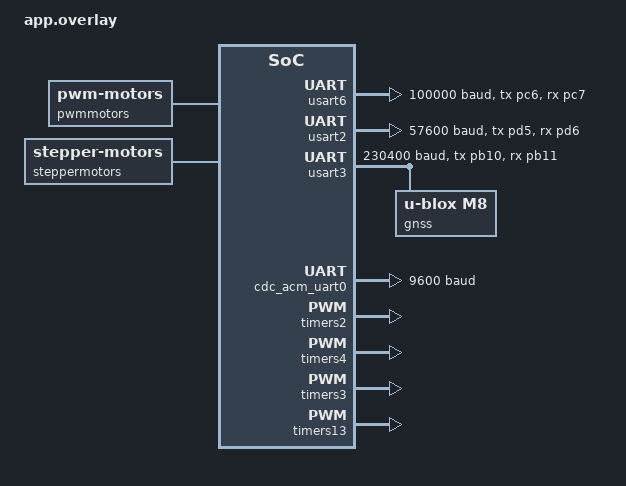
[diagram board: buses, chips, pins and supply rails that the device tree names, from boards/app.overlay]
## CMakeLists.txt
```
cmake_minimum_required(VERSION 3.20)
set(DTC_OVERLAY_FILE "boards/app.overlay")
set(CMAKE_EXPORT_COMPILE_COMMANDS ON)
find_package(Zephyr REQUIRED HINTS $ENV{ZEPHYR_BASE})
project(Tarzan LANGUAGES C)

target_include_directories(app PUBLIC ${CMAKE_CURRENT_SOURCE_DIR}/lib)
target_sources(app PRIVATE src/main.c src/dht11.c)

set(CMAKE_CXX_FLAGS "${CMAKE_CXX_FLAGS} -Wpedantic -Wall -Wextra")
execute_process(
    COMMAND git describe --always --broken --dirty --tags
    OUTPUT_VARIABLE TARZAN_GIT_VERSION
    OUTPUT_STRIP_TRAILING_WHITESPACE
)
add_definitions(-DTARZAN_GIT_VERSION=\"${TARZAN_GIT_VERSION}\")
```

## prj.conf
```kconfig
# peripherals 
CONFIG_GPIO=y
CONFIG_PWM=y
CONFIG_I2C=y
CONFIG_STEPPER=y

# sensors
CONFIG_SENSOR=n
CONFIG_MPU6050=n           
CONFIG_MPU6050_TRIGGER_NONE=n
CONFIG_BMM150=n
CONFIG_BMM150_TRIGGER_GLOBAL_THREAD=n
CONFIG_BMM150_TRIGGER_NONE=n
CONFIG_LSM9DS1=n            
CONFIG_LSM9DS1_MAG=n

# gnss
CONFIG_GNSS=y
CONFIG_GNSS_SATELLITES=y
CONFIG_GNSS_DUMP_TO_LOG=y
CONFIG_GNSS_DUMP_TO_LOG_BUF_SIZE=1024
CONFIG_GNSS_LOG_LEVEL_DBG=y
CONFIG_MODEM_MODULES_LOG_LEVEL_DBG=y

# uart
CONFIG_SERIAL=y
CONFIG_UART_CONSOLE=y
CONFIG_UART_LINE_CTRL=y
CONFIG_LOG_BACKEND_UART=y
CONFIG_UART_INTERRUPT_DRIVEN=y

# cdc acm uart
CONFIG_USB_CDC_ACM=y
CONFIG_USB_DEVICE_STACK=y
CONFIG_USB_DEVICE_PRODUCT="Team RUDRA Tarzan"
CONFIG_USB_DEVICE_VID=0x2FE3
CONFIG_USB_DEVICE_PID=0xFFFF
CONFIG_USB_DEVICE_INITIALIZE_AT_BOOT=n

# zephyr shell uart
CONFIG_SHELL=y
CONFIG_I2C_SHELL=n
CONFIG_SENSOR_SHELL=n
CONFIG_I2C_DUMP_MESSAGES=n
CONFIG_SENSOR_INFO=n

# printk and logging
CONFIG_CBPRINTF_FP_SUPPORT=y
CONFIG_LOG=y
CONFIG_CONSOLE=y
CONFIG_PRINTK=n
CONFIG_TARZAN_LOG_LEVEL=3

# libraries
CONFIG_Tarzan=y
CONFIG_CRC=y

# sys
CONFIG_REBOOT=y
```

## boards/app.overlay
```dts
/{
	pwmmotors {
		compatible = "pwm-motors";
		sabertooth1_1: pwm_1 {
			pwms  = <&pwm2 1 PWM_MSEC(20) (PWM_POLARITY_NORMAL)>;
			min-pulse = <PWM_USEC(1100)>;
			max-pulse = <PWM_USEC(1900)>;
			channel = <0>;
		};
		sabertooth1_2: pwm_2 {
			pwms  = <&pwm2 2 PWM_MSEC(20) (PWM_POLARITY_NORMAL)>;
			min-pulse = <PWM_USEC(1100)>;
			max-pulse = <PWM_USEC(1900)>;
			channel = <1>; 
		};
		cytron1_1: pwm_3 {
			pwms  = <&pwm2 3 PWM_MSEC(20) (PWM_POLARITY_NORMAL)>;
			min-pulse = <PWM_USEC(1100)>;
			max-pulse = <PWM_USEC(1900)>;
			channel = <11>; 
		};
		cytron1_2: pwm_4 {
			pwms  = <&pwm2 4 PWM_MSEC(20) (PWM_POLARITY_NORMAL)>;
			min-pulse = <PWM_USEC(1100)>;
			max-pulse = <PWM_USEC(1900)>;
			channel = <12>; 
		};
		cytron2_1: pwm_5 {
			pwms  = <&pwm4 1 PWM_MSEC(20) (PWM_POLARITY_NORMAL)>;
			min-pulse = <PWM_USEC(1100)>;
			max-pulse = <PWM_USEC(1900)>;
			channel = <6>; 
		};
		cytron2_2: pwm_6 {
			pwms  = <&pwm4 2 PWM_MSEC(20) (PWM_POLARITY_NORMAL)>;
			min-pulse = <PWM_USEC(1100)>;
			max-pulse = <PWM_USEC(1900)>;
			channel = <10>; 
		};
		servo_1: pwm_7 {
			pwms  = <&pwm4 3 PWM_MSEC(20) (PWM_POLARITY_NORMAL)>;
			min-pulse = <PWM_USEC(500)>;
			max-pulse = <PWM_USEC(2500)>;
			channel = <8>; 
		};
		servo_2: pwm_8 {
			pwms  = <&pwm3 1 PWM_MSEC(20) (PWM_POLARITY_NORMAL)>;
			min-pulse = <PWM_USEC(500)>;
			max-pulse = <PWM_USEC(2500)>;
			channel = <9>; 
		};
		servo_3: pwm_9 {
			pwms  = <&pwm3 2 PWM_MSEC(20) (PWM_POLARITY_NORMAL)>;
			min-pulse = <PWM_USEC(500)>;
			max-pulse = <PWM_USEC(2500)>;
		};
		servo_4: pwm_10 {
			pwms  = <&pwm13 1 PWM_MSEC(20) (PWM_POLARITY_NORMAL)>;
			min-pulse = <PWM_USEC(500)>;
			max-pulse = <PWM_USEC(2500)>;
		};
	};

	steppermotors { 
		compatible = "stepper-motors"; 
		dm5422_tt: dm5422_tt { 
			label = "Turn Table"; 
			dir-gpios = <&gpioe 13 GPIO_ACTIVE_LOW>; 
			step-gpios = <&gpiof 11 GPIO_ACTIVE_LOW>;
			channel = <7>; 
		};
		yako: yako {
			label = "First Link"; 
			dir-gpios = <&gpiob 7 GPIO_ACTIVE_LOW>;   
			step-gpios = <&gpioc 0 GPIO_ACTIVE_LOW>;
			channel = <3>; 
		};
		rhino: rhino { 
			label = "Second Link";
			dir-gpios = <&gpiog 14 GPIO_ACTIVE_HIGH>; 
			step-gpios = <&gpiob 1 GPIO_ACTIVE_LOW>; 
			channel = <2>; 
		};
		dm5422_pr1: dm5422_pr1 { 
			label = "Pitch Roll 1";
			dir-gpios = <&gpioa 8 GPIO_ACTIVE_LOW>;
			step-gpios = <&gpiog 12 GPIO_ACTIVE_LOW>;
			channel = <4>; 
		};
		dm5422_pr2: dm5422_pr2 { 
			label = "Pitch Roll 2";
			dir-gpios = <&gpiog 9 GPIO_ACTIVE_LOW>;
			step-gpios = <&gpiod 15 GPIO_ACTIVE_LOW>;
			channel = <5>; 
		};
	};

	aliases {
			sbc-uart = &cdc_acm_uart0; 
			telemetry-uart = &usart2;
			sbus-uart = &usart6;
     			gps-uart = &gnss;
	};

	chosen {
		zephyr,console = &usart2;
		zephyr,shell-uart = &usart2;
	};
};

&usart6 {
	pinctrl-0 = <&usart6_tx_pc6 &usart6_rx_pc7>;
	pinctrl-names= "default";
	status = "okay";
	current-speed = <100000>;
};

&usart2 {
        pinctrl-0 = <&usart2_tx_pd5 &usart2_rx_pd6>;
        pinctrl-names= "default";
        status = "okay";
        current-speed = <57600>;
};

&usart3{
	pinctrl-0 = <&usart3_tx_pb10 &usart3_rx_pb11>;
	pinctrl-names = "default";
	status = "okay";
	current-speed = <230400>;
	gnss: u_blox_m8n {
		status = "okay";
		compatible = "u-blox,m8";
		initial-baudrate = <230400>;
	};
};

&zephyr_udc0 {
	cdc_acm_uart0: cdc_acm_uart0 {
		compatible = "zephyr,cdc-acm-uart";
		status = "okay";
		current-speed = <9600>;
	};
};

&timers2 {
	status = "okay";
	st,prescaler = <5599>;
	pwm2: pwm {
		status = "okay";
		pinctrl-0 = <&tim2_ch1_pa0 &tim2_ch2_pa1 &tim2_ch3_pa2 &tim2_ch4_pa3>;
		pinctrl-names = "default";
	};
};

&timers4 {
	status = "okay";
	st,prescaler = <5599>;
	pwm4: pwm {
		status = "okay";
		pinctrl-0 = <&tim4_ch1_pd12 &tim4_ch2_pd13 &tim4_ch3_pd14>;
		pinctrl-names = "default";
	};
};

&timers3 {
	status = "okay";
	st,prescaler = <5599>;

	pwm3: pwm {
		status = "okay";
		pinctrl-0 = <&tim3_ch1_pb4 &tim3_ch2_pb5>;
		pinctrl-names = "default";
	};
};

&timers13 {
	status = "okay";
	st,prescaler = <5599>;

	pwm13: pwm {
		status = "okay";
		pinctrl-0 = <&tim13_ch1_pa6>;
		pinctrl-names = "default";
	};
};
```

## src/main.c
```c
#include <stdbool.h>
#include <stdint.h>
#include <stdlib.h>
#include <string.h>
#include <zephyr/device.h>
#include <zephyr/devicetree.h>
#include <zephyr/drivers/gnss.h>
#include <zephyr/drivers/gpio.h>
#include <zephyr/drivers/sensor.h>
#include <zephyr/drivers/stepper.h>
#include <zephyr/drivers/uart.h>
#include <zephyr/kernel.h>
#include <zephyr/kernel/thread_stack.h>
#include <zephyr/logging/log.h>
#include <zephyr/sys/crc.h>
#include <zephyr/sys/util.h>
#include <zephyr/toolchain.h>
#include <zephyr/usb/usb_device.h>

#include <Tarzan/lib/arm.h>
#include <Tarzan/lib/cobs.h>
#include <Tarzan/lib/drive.h>
#include <Tarzan/lib/sbus.h>

LOG_MODULE_REGISTER(Tarzan, CONFIG_TARZAN_LOG_LEVEL);

#define STACK_SIZE 4096   // work_q thread stack size
#define PRIORITY 2        // work_q thread priority
#define STEPPER_TIMER 100 // stepper pulse width in microseconds
#define JERK_LIMITER false

/* sbus uart */
static const struct device *const sbus_uart =
    DEVICE_DT_GET(DT_ALIAS(sbus_uart));
/* sbc uart */
static const struct device *const sbc_uart = DEVICE_DT_GET(DT_ALIAS(sbc_uart));
/* gps uart */
#define GNSS_MODEM DEVICE_DT_GET(DT_ALIAS(gps_uart))

/* DT spec for pwm motors */
#define PWM_MOTOR_SETUP(pwm_dev_id)                                            \
  {.dev_spec = PWM_DT_SPEC_GET(pwm_dev_id),                                    \
   .min_pulse = DT_PROP(pwm_dev_id, min_pulse),                                \
   .max_pulse = DT_PROP(pwm_dev_id, max_pulse),                                \
   .channel = DT_PROP_OR(pwm_dev_id, channel, -1)},
const struct pwm_motor pwm_motor[DT_CHILD_NUM_STATUS_OKAY(DT_PATH(pwmmotors))] =
    {DT_FOREACH_CHILD(DT_PATH(pwmmotors), PWM_MOTOR_SETUP)};

/* DT spec for stepper motors */
#define STEPPER_MOTOR_SETUP(stepper_dev_id)                                    \
  {.dir = GPIO_DT_SPEC_GET(stepper_dev_id, dir_gpios),                         \
   .step = GPIO_DT_SPEC_GET(stepper_dev_id, step_gpios),                       \
   .channel = DT_PROP_OR(stepper_dev_id, channel, -1)},
const struct stepper_motor
    stepper_motor[DT_CHILD_NUM_STATUS_OKAY(DT_PATH(steppermotors))] = {
        DT_FOREACH_CHILD(DT_PATH(steppermotors), STEPPER_MOTOR_SETUP)};

/* DT spec for leds */
static const struct gpio_dt_spec init_led =
    GPIO_DT_SPEC_GET(DT_ALIAS(led0), gpios);
static const struct gpio_dt_spec sbus_status_led =
    GPIO_DT_SPEC_GET(DT_ALIAS(led1), gpios);
const struct pwm_dt_spec error_led = PWM_DT_SPEC_GET(DT_ALIAS(pwm_led0));
/* Enum struct to define the diffrent autonomous modes */ 
enum auto_state {
  arm_mode=0,
  drive_mode=1
};
/* msg struct for rx coms */
struct auto_msg {
  uint8_t state;
  struct DiffDriveTwist auto_cmd;
  struct joint arm_cmd[6]; 
  uint32_t crc;
};
/* struct to store gps data */ 
struct gps_data {
  int64_t latitude;
  int64_t longitude;
  int32_t altitude;
  int32_t bearing;

};
struct gps_send_data {
  struct k_work gps_work_item; 
}gps;
/* msg struct for tx coms */
struct base_station_msg {
  struct gps_data data;
  struct joint angles[6];
  uint32_t crc;
};

/* defining sbus message queue*/
K_MSGQ_DEFINE(sbus_msgq, 25 * sizeof(uint8_t), 10, 1);
/* defining cobs message queue */
K_MSGQ_DEFINE(drive_msgq, sizeof(struct auto_msg) + 2, 50, 1);
/* defining cobs message queue for inverse kinematics */ 
K_MSGQ_DEFINE(arm_msgq,sizeof(struct auto_msg)+2,50,1);
/* defining the message queue for tx item arm */ 
K_MSGQ_DEFINE(arm_tx_msgq,sizeof(struct joint),50,1);
/* defining the message queue for tx item gps */ 
K_MSGQ_DEFINE(gps_tx_msgq,sizeof(struct gps_data),50,1);
/* workq dedicated thread */
K_THREAD_STACK_DEFINE(stack_area, STACK_SIZE);

/* semaphore for channels */
struct k_sem ch_sem;
/* mutex for channel reader count */
struct k_mutex ch_reader_cnt_mutex;
/* mutex for channel readers to wait for writer */
struct k_mutex ch_writer_mutex;
/* msgq to store sbus data */
struct k_work_q work_q;
/* sbus work item */
struct k_work sbus_work_item;
/*gps work item */ 

/* struct for drive variables */
struct drive_arg {
  struct k_work drive_work_item;      // drive work item
  struct k_work auto_drive_work_item; // autonomous drive work item
  struct DiffDriveConfig drive_config;
  struct DiffDriveTwist cmd;
  struct DiffDriveCtx *drive_init;
  struct k_work auto_arm_work_item;
  uint8_t arm_work_buffer[sizeof(struct auto_msg)+2];
  uint8_t drive_raw_buffer[sizeof(struct auto_msg) + 2];
} drive;


/* struct for arm variables */

struct arm_arg {
  enum StepperDirection dir[5];
  int pos[5];
  struct k_work channel_work_item;
  struct k_work auto_arm_work_item;
  struct k_work arm_tx_work_item;
  uint8_t arm_work_buffer[sizeof(struct auto_msg)+2];
} arm;
/*struct for communication */ 
struct com_rx_arg {
  struct k_work cobs_rx_work_item;
  struct k_work *work_item;
  void *msg_rx;
  struct k_msgq *msgq_rx;
  int cobs_bytes_read;
  size_t MSG_LEN;
  uint8_t *rx_buf;
};

struct com_rx_arg drive_com; //auto drive struct 
struct com_rx_arg arm_com; //auto arm struct

struct com_tx_arg {
  struct k_work sbc_tx_work_item;
  struct base_station_msg bs_msg_tx; // to store encoded base station mssg
} com_tx;

int ch_reader_cnt;          // no. of readers accessing channels
uint16_t channel[16] = {0}; // to store sbus channels
uint8_t packet[25];         // to store sbus packets
int sbus_bytes_read;        // to store number of sbus bytes read
const int BS_MSG_LEN =
    sizeof(struct base_station_msg) + 2; // len of base station mssg
uint8_t bs_tx_buf[sizeof(struct base_station_msg) + 2] = {0};
/* range variables */
const float linear_velocity_range[] = {-1.5, 1.5};
const float angular_velocity_range[] = {-5.5, 5.5};
const float wheel_velocity_range[] = {-10.0, 10.0};
const uint16_t channel_range[] = {172, 1811};

/* check if received cobs message is valid,
* ret 0 if successfull */
uint32_t check_crc(uint8_t *msg, size_t MSG_LEN) {
  uint32_t valid_crc;
  valid_crc = crc32_ieee((uint8_t *)msg, MSG_LEN - sizeof(uint32_t));
  return valid_crc;
}

/* interrupt to store sbus data */
void sbus_cb(const struct device *dev, void *user_data) {
  ARG_UNUSED(user_data);
  uint8_t c;
  if (!uart_irq_update(sbus_uart))
    return;
  if (!uart_irq_rx_ready(sbus_uart))
    return;
  while (sbus_bytes_read < 25 && uart_fifo_read(sbus_uart, &c, 1)) {
    if (sbus_bytes_read == 0 && c != 0x0f)
      continue;
    packet[sbus_bytes_read++] = c;
  }
  if (sbus_bytes_read == 25) {
    k_msgq_put(&sbus_msgq, &packet, K_NO_WAIT);
    k_work_submit_to_queue(&work_q, &sbus_work_item);
    sbus_bytes_read = 0;
  }
}
/* interrupt to store gps data */
void gps_cb(const struct device *dev, const struct gnss_data *data) {
  struct gps_data dummy_gps; 
  if (data->info.fix_status != GNSS_FIX_STATUS_NO_FIX) {
    /*
    com_tx.bs_msg_tx.data.latitude = data->nav_data.latitude;
    com_tx.bs_msg_tx.data.longitude = data->nav_data.longitude;
    com_tx.bs_msg_tx.data.altitude = data->nav_data.altitude;
    com_tx.bs_msg_tx.data.bearing = data->nav_data.bearing;
    */ 
    k_msgq_put(&gps_tx_msgq,&dummy_gps,K_NO_WAIT);

    dummy_gps.latitude=data->nav_data.latitude;
    dummy_gps.longitude=data->nav_data.longitude;
    dummy_gps.altitude=data->nav_data.altitude;
    dummy_gps.bearing=data->nav_data.bearing;
    k_work_submit_to_queue(&work_q, &gps.gps_work_item);
  } else
    LOG_ERR("GPS: Unable to fix satellite");
}
/* interrupt to send the current joint angles of the arm */ 
/*
struct joint1 {
  float accel[3];
  float gyro[3];
  float mag[3];
  float pitch;
  float roll;
  float yaw;
};
*/ 
void angles_cb(const struct device *dev , struct joint angles){
  // if (!uart_irq_update(sbus_uart))
  //   return;
  // if (!uart_irq_rx_ready(sbus_uart))
  //   return;
  if(k_msgq_put(&arm_tx_msgq,&angles,K_NO_WAIT)!=0){
    return;
  }
  k_work_submit_to_queue(&work_q,&arm.arm_tx_work_item);
};
/* gps work handler */ 
void gps_work_handler(struct k_work *gps_work_item){
  struct gps_data buffer={0};
  if(k_msgq_get(&gps_tx_msgq,&buffer,K_NO_WAIT)!=0){
    return ;
  }
  com_tx.bs_msg_tx.data.latitude=buffer.latitude;
  com_tx.bs_msg_tx.data.longitude=buffer.longitude;
  com_tx.bs_msg_tx.data.altitude=buffer.altitude;
  com_tx.bs_msg_tx.data.bearing=buffer.bearing;
  k_work_submit_to_queue(&work_q,&(com_tx.sbc_tx_work_item));

};
/* work handler for the arms tx message */ 
void arm_tx_work_handler(struct k_work *arm_tx_work_item){
  struct joint latest_angles;

  for(int i=0;i<6;i++){
    if(k_msgq_get(&arm_tx_msgq,&latest_angles,K_NO_WAIT)!=0){
      return ;
    }
    com_tx.bs_msg_tx.angles[i]=latest_angles;
  };
  k_work_submit_to_queue(&work_q,&(com_tx.sbc_tx_work_item));

};
/* interrup to read cobs messages */
void cobs_cb(const struct device *dev, void *user_data) {
  struct com_rx_arg *com_ctx = (struct com_rx_arg *)user_data;
  uint8_t c;

  if (!uart_irq_update(dev)) {
    return;
  }
  if (!uart_irq_rx_ready(dev)) {
    return;
  }
  while (uart_fifo_read(dev, &c, 1)) {
    if (c == 0x00 && com_ctx->cobs_bytes_read > 0) {
      com_ctx->rx_buf[com_ctx->cobs_bytes_read] = 0;
      if (com_ctx->cobs_bytes_read != (com_ctx->MSG_LEN - 1)) {
        com_ctx->cobs_bytes_read = 0;
        continue;
      }
      k_msgq_put(com_ctx->msgq_rx, com_ctx->rx_buf, K_NO_WAIT);
      k_work_submit_to_queue(&work_q, &com_ctx->cobs_rx_work_item);
      com_ctx->cobs_bytes_read = 0;
    } else if (com_ctx->cobs_bytes_read < com_ctx->MSG_LEN) {
      com_ctx->rx_buf[com_ctx->cobs_bytes_read++] = c;
    }
  }
}

/* work handler to form sbus packet and return sbus channels */
void sbus_work_handler(struct k_work *sbus_work_ptr) {
  uint8_t buffer[25] = {0};
  int err;
  k_msgq_get(&sbus_msgq, buffer, K_NO_WAIT);
  err = parity_checker(buffer[23]);

  if (err == 1) {
    gpio_pin_set_dt(&sbus_status_led, 0); // set sbus status led low
    LOG_ERR("Corrupt SBUS Packet\n");
  } else {
    gpio_pin_set_dt(&sbus_status_led, 1); // set sbus status led high
    k_mutex_lock(&ch_writer_mutex, K_FOREVER);
    if (k_sem_take(&ch_sem, K_NO_WAIT) == 0) {
      k_mutex_unlock(&ch_writer_mutex);
      parse_buffer(buffer, channel);
      k_sem_give(&ch_sem);
      k_work_submit_to_queue(&work_q, &(arm.channel_work_item));
      k_work_submit_to_queue(&work_q, &(drive.drive_work_item));
    } else {
      k_mutex_unlock(&ch_writer_mutex);
    }
  }
}

/* received cobs message work handler */
// struct dummy_arm_mode {
//   uint8_t arm_dummy[sizeof(struct auto_msg)+2];
// }dummy_arm;
void cobs_rx_work_handler(struct k_work *cobs_rx_work_ptr) {
  struct com_rx_arg *com_info = CONTAINER_OF(
      cobs_rx_work_ptr, struct com_rx_arg,
      cobs_rx_work_item); // changed type here to check for conflicts

  uint8_t buf[com_info->MSG_LEN];
  k_msgq_get(com_info->msgq_rx, buf, K_MSEC(4));
  struct auto_msg autonomous_state; 
  cobs_decode_result result = cobs_decode(
      &(autonomous_state), sizeof(autonomous_state), buf, com_info->MSG_LEN - 1);
  if (result.status != COBS_DECODE_OK) {
    LOG_ERR("COBS Decode Failed %d\n", result.status);
    return;
  }
  uint8_t *data=(uint8_t *)&autonomous_state;
  if(autonomous_state.state==arm_mode){
     
    for(int i=0;i<sizeof(struct auto_msg);i++){
        drive.arm_work_buffer[i]=data[i];
    };
        
    com_info->work_item=arm_com.work_item;
  }else if(autonomous_state.state==drive_mode){ 
    
    for(int i=0;i<sizeof(struct auto_msg);i++){
      drive.drive_raw_buffer[i]=data[i];
    }; 



    com_info->work_item=drive_com.work_item;
  }
  // submit autonomous work handler
  k_work_submit_to_queue(&work_q, com_info->work_item);
}

void sbc_tx_work_handler(struct k_work *sbc_tx_work_ptr) {

  struct com_tx_arg *com_info =
      CONTAINER_OF(sbc_tx_work_ptr, struct com_tx_arg,
                   sbc_tx_work_item); // changed type from som_arg to
                                      // com_tx_arg to match type
  com_info->bs_msg_tx.crc =
      crc32_ieee((uint8_t *)(&com_info->bs_msg_tx),
                 sizeof(struct base_station_msg) - sizeof(uint32_t));
  cobs_encode_result result =
      cobs_encode(bs_tx_buf, BS_MSG_LEN, (void *)&com_info->bs_msg_tx,
                  sizeof(struct base_station_msg));

  if (result.status != COBS_ENCODE_OK) {
    LOG_ERR("COBS Encoded Failed %d\n", result.status);

    return;
  }
  bs_tx_buf[BS_MSG_LEN - 1] = 0x00;
  for (int i = 0; i < BS_MSG_LEN; i++) {
    uart_poll_out(sbc_uart, bs_tx_buf[i]);
  }

}

int velocity_callback(const float *velocity_buffer, int buffer_len,
                      int wheels_per_side) {
  if (buffer_len < wheels_per_side * 2) {
    return 1;
  }
  if (pwm_motor_write(
          &(pwm_motor[0]),
          LINEAR_INTERPOLATION(*velocity_buffer, wheel_velocity_range[0],
                               wheel_velocity_range[1], pwm_motor[0].min_pulse,
                               pwm_motor[0].max_pulse))) {
    LOG_ERR("Drive: Unable to write pwm pulse to Left");
    return 1;
  }
  if (pwm_motor_write(&(pwm_motor[1]),
                      LINEAR_INTERPOLATION(
                          *(velocity_buffer + wheels_per_side + 1),
                          wheel_velocity_range[0], wheel_velocity_range[1],
                          pwm_motor[1].min_pulse, pwm_motor[1].max_pulse))) {
    LOG_ERR("Drive: Unable to write pwm pulse to Right");
    return 1;
  }
  return 0;
}

/* work handler to write to motors */
void drive_work_handler(struct k_work *drive_work_ptr) {
  struct drive_arg *drive_info =
      CONTAINER_OF(drive_work_ptr, struct drive_arg, drive_work_item);

  if (k_mutex_lock(&ch_writer_mutex, K_NO_WAIT) != 0) {
    return;
  }
  k_mutex_unlock(&ch_writer_mutex);
  k_mutex_lock(&ch_reader_cnt_mutex, K_FOREVER);
  if (ch_reader_cnt == 0) {
    k_sem_take(&ch_sem, K_FOREVER);
  }
  ch_reader_cnt++;
  k_mutex_unlock(&ch_reader_cnt_mutex);

  // drive update
  drive_info->cmd.linear_x = LINEAR_INTERPOLATION(
      channel[pwm_motor[0].channel], channel_range[0], channel_range[1],
      linear_velocity_range[0], linear_velocity_range[1]);
  drive_info->cmd.angular_z = LINEAR_INTERPOLATION(
      channel[pwm_motor[1].channel], channel_range[0], channel_range[1],
      angular_velocity_range[0], angular_velocity_range[1]);
  diffdrive_update(drive_info->drive_init, drive_info->cmd);

  for (size_t i = 2U; i < ARRAY_SIZE(pwm_motor); i++) {
    if (pwm_motor_write(&(pwm_motor[i]),
                        LINEAR_INTERPOLATION(channel[pwm_motor[i].channel],
                                             channel_range[0], channel_range[1],
                                             pwm_motor->min_pulse,
                                             pwm_motor->max_pulse)))
      LOG_ERR("PWM: Motor %s unable to write", pwm_motor[i].dev_spec.dev->name);
  }
  k_mutex_lock(&ch_reader_cnt_mutex, K_FOREVER);
  ch_reader_cnt--;
  if (ch_reader_cnt == 0) {
    k_sem_give(&ch_sem);
  }
  k_mutex_unlock(&ch_reader_cnt_mutex);
  ;
}

/* autonomous drive work handler */
void auto_drive_work_handler(struct k_work *auto_drive_work_ptr) {
  struct drive_arg *drive_info =
      CONTAINER_OF(auto_drive_work_ptr, struct drive_arg, auto_drive_work_item);

  struct auto_msg *msg = (struct auto_msg *)drive_info->drive_raw_buffer;

  // check crc
  if (check_crc(drive_info->drive_raw_buffer, sizeof(struct auto_msg)) !=
      msg->crc)
    return;

  // update drive
  drive_info->cmd.linear_x = drive_info->auto_cmd.cmd.linear_x;
  drive_info->cmd.angular_z = drive_info->auto_cmd.cmd.angular_z;
  diffdrive_update(drive_info->drive_init, drive_info->cmd);


}

/* arm channel work handler */
void arm_channel_work_handler(struct k_work *work_ptr) {
  struct arm_arg *arm_info =
      CONTAINER_OF(work_ptr, struct arm_arg, channel_work_item);
  if (k_mutex_lock(&ch_writer_mutex, K_NO_WAIT) != 0) {
    return;
  }
  k_mutex_unlock(&ch_writer_mutex);
  k_mutex_lock(&ch_reader_cnt_mutex, K_FOREVER);
  if (ch_reader_cnt == 0) {
    k_sem_take(&ch_sem, K_FOREVER);
  }
  ch_reader_cnt++;
  k_mutex_unlock(&ch_reader_cnt_mutex);

  for (int i = 0U; i < ARRAY_SIZE(stepper_motor); i++) {
    if (channel[stepper_motor[i].channel] > 1185)
      arm_info->dir[i] = HIGH_PULSE;
    else if (channel[stepper_motor[i].channel] < 800)
      arm_info->dir[i] = LOW_PULSE;
    else
      arm_info->dir[i] = STOP_PULSE;
  }

  k_mutex_lock(&ch_reader_cnt_mutex, K_FOREVER);
  ch_reader_cnt--;
  if (ch_reader_cnt == 0) {
    k_sem_give(&ch_sem);
  }
  k_mutex_unlock(&ch_reader_cnt_mutex);
}
void auto_arm_work_handler(struct k_work *auto_arm_work_ptr) {
  struct drive_arg *arm_info= CONTAINER_OF(auto_arm_work_ptr,struct drive_arg,auto_arm_work_item);
  struct auto_msg *msg=(struct auto_msg *)arm_info->arm_work_buffer;
  if (check_crc(arm_info->arm_work_buffer, sizeof(struct auto_msg )) !=msg->crc)
      return;
  /* msg should be having x,y,z of target pos or the angles of ik */   
  
    // int target=(msg->arm_cmd[i]);
    // int error=target-arm.pos[i];
    // if(error>1){
    //  arm_info->dir[i]=HIGH_PULSE; 
    // }else if(error<-1){
    //   arm_info->dir[i]=LOW_PULSE;
    // }else {
    //   arm_info->dir[i]=STOP_PULSE;
    // }
  

  
}

/* timer to write to stepper motors*/
void stepper_timer_handler(struct k_timer *stepper_timer_ptr) {
  for (int i = 0U; i < ARRAY_SIZE(stepper_motor); i++) {
    arm.pos[i] = Stepper_motor_write(&stepper_motor[i], arm.dir[i], arm.pos[i]);
  }
}

K_TIMER_DEFINE(stepper_timer, stepper_timer_handler, NULL);

int main() {
  LOG_INF("Tarzan version %s\nFile: %s\n", TARZAN_GIT_VERSION, __FILE__);
  if (usb_enable(NULL))
    LOG_ERR("CDC ACM UART failed");

  /* enable usb for sbc com */



  int err;

  /* initializing work queue */
  k_work_queue_init(&work_q);

  /* initializing channel semaphore */
  k_sem_init(&ch_sem, 1, 1);
  /* initializing mutex for readers to wait */
  k_mutex_init(&ch_writer_mutex);
  /* inittializing mutex for reader count */
  k_mutex_init(&ch_reader_cnt_mutex);

  /* initializing work items */
  k_work_init(&sbus_work_item, sbus_work_handler);
  k_work_init(&(drive.drive_work_item), drive_work_handler);
  k_work_init(&(drive.auto_drive_work_item), auto_drive_work_handler);
  k_work_init(&(arm.channel_work_item), arm_channel_work_handler);
  k_work_init(&(drive.auto_arm_work_item),auto_arm_work_handler);
  k_work_init(&(drive_com.cobs_rx_work_item), cobs_rx_work_handler);
  k_work_init(&(gps.gps_work_item),gps_work_handler);
  k_work_init(&(arm.arm_tx_work_item),arm_tx_work_handler);
  k_work_init(&(com_tx.sbc_tx_work_item), sbc_tx_work_handler);

  /* initializing drive configs */
  const struct DiffDriveConfig tmp_drive_config = {
      .wheel_separation = 0.77f,
      .wheel_separation_multiplier = 1,
      .wheel_radius = 0.15f,
      .wheels_per_side = 2,
      .command_timeout_seconds = 2,
      .left_wheel_radius_multiplier = 1,
      .right_wheel_radius_multiplier = 1,
  };
  drive.drive_config = tmp_drive_config;
  drive.drive_init =
      drive_init(&(drive.drive_config), JERK_LIMITER, velocity_callback);

  /* sbus uart ready check */
  if (!device_is_ready(sbus_uart))
    LOG_ERR("SBUS UART device not ready");
  /* sbc uart ready check */
  if (!device_is_ready(sbc_uart))
    LOG_ERR("SBC UART device not ready");


  /* gps ready check*/
  gnss_systems_t supported, enabled;
  if (gnss_get_supported_systems(GNSS_MODEM, &supported) < 0)
    LOG_ERR("Failed to query supported systems");

  if (gnss_get_enabled_systems(GNSS_MODEM, &enabled) < 0)
    LOG_ERR("Failed to query enabled systems");

  /* set sbus uart for interrupt */
  err = uart_irq_callback_user_data_set(sbus_uart, sbus_cb, NULL);
  if (err < 0) {
    if (err == -ENOTSUP) {
      LOG_ERR("Interrupt-driven UART API support not enabled");
    } else if (err == -ENOSYS) {
      LOG_ERR("UART device does not support interrupt-driven API");
    } else {
      LOG_ERR("Error setting UART callback: %d", err);
    }
  }

  /* set sbc uart for interrupt */
  err = uart_irq_callback_user_data_set(sbc_uart, cobs_cb, &drive_com);
  if (err < 0) {
    if (err == -ENOTSUP) {
      LOG_ERR("Interrupt-driven UART API support not enabled");
    } else if (err == -ENOSYS) {
      LOG_ERR("UART device does not support interrupt-driven API");
    } else {
      LOG_ERR("Error setting UART callback: %d", err);
    }
  }

  /* pwm ready check */
  for (size_t i = 0U; i < ARRAY_SIZE(pwm_motor); i++) {
    if (!pwm_is_ready_dt(&(pwm_motor[i].dev_spec)))
      LOG_ERR("PWM: Motor %s is not ready", pwm_motor[i].dev_spec.dev->name);
    if (pwm_motor_write(&(pwm_motor[i]), 1500000))
      LOG_ERR("Unable to write pwm pulse to PWM Motor : %d\n", i);
  }

  /* stepper motor ready check */
  for (size_t i = 0U; i < ARRAY_SIZE(stepper_motor); i++) {
    if (!gpio_is_ready_dt(&stepper_motor[i].dir) ||
        !gpio_is_ready_dt(&stepper_motor[i].step))
      LOG_ERR("Stepper Motor %d: Pin %d is not ready", i,
              stepper_motor[i].dir.pin);

    if (gpio_pin_configure_dt(&(stepper_motor[i].dir), GPIO_OUTPUT_INACTIVE) ||
        gpio_pin_configure_dt(&(stepper_motor[i].step), GPIO_OUTPUT_INACTIVE))
      LOG_ERR("Stepper motor %d: Pin %d not configured", i,
              stepper_motor[i].dir.pin);
  }

  /* led ready checks */
  if (!gpio_is_ready_dt(&init_led)) {
    LOG_ERR("Initialization led not ready\n");
  }
  if (!gpio_is_ready_dt(&sbus_status_led)) {
    LOG_ERR("SBUS Status led not ready\n");
  }
  if (!pwm_is_ready_dt(&error_led)) {
    LOG_ERR("Error led is not ready");
  }
  if (gpio_pin_configure_dt(&init_led, GPIO_OUTPUT_INACTIVE) < 0) {
    LOG_ERR("Intitialization led not configured\n");
  }
  if (gpio_pin_configure_dt(&sbus_status_led, GPIO_OUTPUT_INACTIVE) < 0) {
    LOG_ERR("SBUS Status led not configured\n");
  }

  LOG_INF("Initialization completed successfully!\n");

  gpio_pin_set_dt(&init_led, 1); // set initialization led high

  /* start running work queue */
  k_work_queue_start(&work_q, stack_area, K_THREAD_STACK_SIZEOF(stack_area),
                     PRIORITY, NULL);

  /* enable interrupt to receive sbus data */
  uart_irq_rx_enable(sbus_uart);
  /* enable interrupt to receive cobs data */
  uart_irq_rx_enable(sbc_uart);
  /* enable interrupt to receive gps data */
  GNSS_DATA_CALLBACK_DEFINE(GNSS_MODEM, gps_cb);

  /* enabling stepper & mssg timer */
  k_timer_start(&stepper_timer, K_SECONDS(1), K_USEC((STEPPER_TIMER) / 2));

  return 0;
}
```

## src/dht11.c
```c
#include <stdio.h>
#include <zephyr/kernel.h>
#include <zephyr/drivers/gpio.h>

int read_sensor_values(struct gpio_dt_spec dev , int data[5]){
  int j;
  uint32_t start=0;
  for(int i=0;i<5;i++){
    data[i]=0;
  };
  gpio_pin_configure_dt(&dev,GPIO_OUTPUT);
  gpio_pin_set_dt(&dev,GPIO_OUTPUT_LOW);
  k_msleep(20);
  gpio_pin_set_dt(&dev,GPIO_OUTPUT_HIGH);
  k_busy_wait(30);
  gpio_pin_configure_dt(&dev,GPIO_INPUT | GPIO_PULL_UP);

  start=k_cycle_get_32();
  while(gpio_pin_get_dt(&dev)){
    if (k_cyc_to_us_floor32(k_cycle_get_32() - start) > 100) return -1;
  };
  while(!gpio_pin_get_dt(&dev));
  while (gpio_pin_get_dt(&dev));
  for(int i=0;i<40;i++){
    while(!gpio_pin_get_dt(&dev));
    start=k_cycle_get_32();
    while(gpio_pin_get_dt(&dev));
    uint32_t pulse = k_cyc_to_us_floor32(k_cycle_get_32()-start);
    j=i/8;
    data[j]<<=1;
    if(pulse>50){
      data[j] |=1;
    };
  };
  if (((data[0] + data[1] + data[2] + data[3]) & 0xFF) != data[4]) {
        return -2;
  };
  return 0;

};
```
